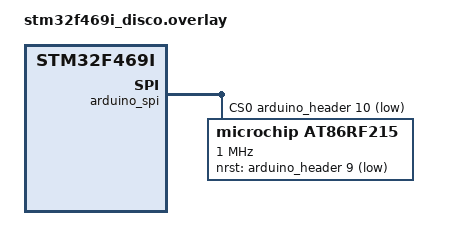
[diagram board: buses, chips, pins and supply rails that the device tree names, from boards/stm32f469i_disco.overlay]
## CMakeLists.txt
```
#-------------------------------------------------------------------------------
# OpenHT Application
#
# Copyright (c) 2021 Nordic Semiconductor ASA
# SPDX-License-Identifier: Apache-2.0

cmake_minimum_required(VERSION 3.13.1)
find_package(Zephyr REQUIRED HINTS $ENV{ZEPHYR_BASE})

project(app LANGUAGES C VERSION 1.0.0)

configure_file(app_version.h.in ${CMAKE_BINARY_DIR}/app/include/app_version.h)
target_include_directories(app PRIVATE ${CMAKE_BINARY_DIR}/app/include src)

target_sources(app PRIVATE src/main.c)
```

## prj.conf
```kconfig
CONFIG_SPI=y
CONFIG_I2C=y
CONFIG_HEAP_MEM_POOL_SIZE=16384
CONFIG_MAIN_STACK_SIZE=2048

CONFIG_CPLUSPLUS=y
CONFIG_LIB_CPLUSPLUS=y

CONFIG_LOG=y
CONFIG_SHELL=y
CONFIG_SHELL_PROMPT_UART="openht:~$ "

CONFIG_FPU=y

CONFIG_RADIO=y
CONFIG_AT86RF215=y

# CONFIG_DISPLAY=y
# CONFIG_DISPLAY_LOG_LEVEL_ERR=y
```

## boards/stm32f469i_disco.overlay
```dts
&arduino_spi {
    cs-gpios = <&arduino_header 10 GPIO_ACTIVE_LOW>;
    at86rf215@0 {
        compatible = "microchip,at86rf215";
        reg = <0>;
		spi-max-frequency = <1000000>; /* conservatively set to 1MHz */
        nrst-gpios = <&arduino_header 9 GPIO_ACTIVE_LOW>;
    };
};
```

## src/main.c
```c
#include <zephyr/kernel.h>
#include <zephyr/device.h>
#include <zephyr/devicetree.h>
#include <zephyr/drivers/spi.h>
#include <zephyr/drivers/gpio.h>

/* 1000 msec = 1 sec */
#define SLEEP_TIME_MS   1000

// devicetree node alias
#define LED0_NODE DT_ALIAS(led0)

static const struct gpio_dt_spec led1 = GPIO_DT_SPEC_GET(LED0_NODE, gpios);

void main(void)
{
  int ret;

	if (!device_is_ready(led1.port)) {
		return;
	}

  ret = gpio_pin_configure_dt(&led1, GPIO_OUTPUT_ACTIVE);
	if (ret < 0) {
		return;
	}

  while(1) 
  {
    gpio_pin_toggle_dt(&led1);

    k_msleep(SLEEP_TIME_MS);
  }
}
```
